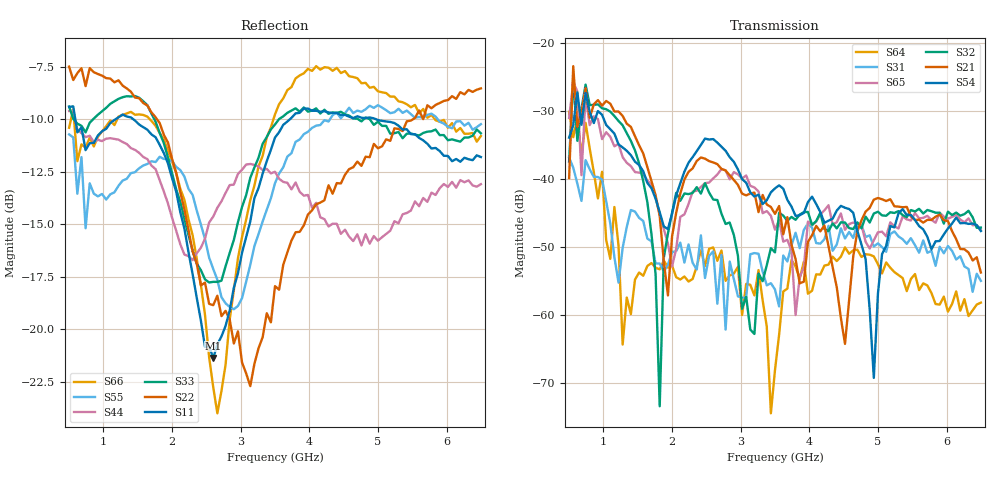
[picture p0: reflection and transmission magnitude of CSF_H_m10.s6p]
!Keysight Technologies,M9804A,MY58100912,A.14.10.03
!Date: Thursday, April 27, 2023 10:28:33
!Correction: S11(C  6-Port  )
!S12(C  6-Port  )
!S13(C  6-Port  )
!S14(C  6-Port  )
!S15(C  6-Port  )
!S16(C  6-Port  )
!S21(C  6-Port  )
!S22(C  6-Port  )
!S23(C  6-Port  )
!S24(C  6-Port  )
!S25(C  6-Port  )
!S26(C  6-Port  )
!S31(C  6-Port  )
!S32(C  6-Port  )
!S33(C  6-Port  )
!S34(C  6-Port  )
!S35(C  6-Port  )
!S36(C  6-Port  )
!S41(C  6-Port  )
!S42(C  6-Port  )
!S43(C  6-Port  )
!S44(C  6-Port  )
!S45(C  6-Port  )
!S46(C  6-Port  )
!S51(C  6-Port  )
!S52(C  6-Port  )
!S53(C  6-Port  )
!S54(C  6-Port  )
!S55(C  6-Port  )
!S56(C  6-Port  )
!S61(C  6-Port  )
!S62(C  6-Port  )
!S63(C  6-Port  )
!S64(C  6-Port  )
!S65(C  6-Port  )
!S66(C  6-Port  )
!S6P File: Measurement: :
# Hz S  RI  R 50
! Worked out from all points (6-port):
!   101 points, 500 MHz to 6.5 GHz, reference 50 ohm
!   strongest paths, dB at 500 MHz, 2 GHz, 3.5 GHz, 5 GHz, 6.5 GHz:
!     S54: -33.9, -45.1, -41.4, -56.9, -47.7
!     S21: -39.9, -48.5, -45.2, -42.8, -53.8
!     S32: -37.5, -45.0, -50.8, -44.8, -47.2
!     S65: -31.1, -52.9, -47.5, -47.9, -47.5
!     S31: -36.9, -50.8, -56.3, -49.5, -55.0
!     S64: -30.1, -52.8, -68.1, -52.6, -58.2
!   lowest |S11| = -21.4 dB at 2.6 GHz (marker M1), VSWR 1.19, Z = 42.4 + j2.16 ohm
!   |S11| at or under -10 dB: 590.2 MHz to 1.173 GHz (582.8 MHz wide, 66.1 % of centre); 1.438 GHz to 3.714 GHz (2.276 GHz wide, 88.3 % of centre); 4.977 GHz to end of sweep
